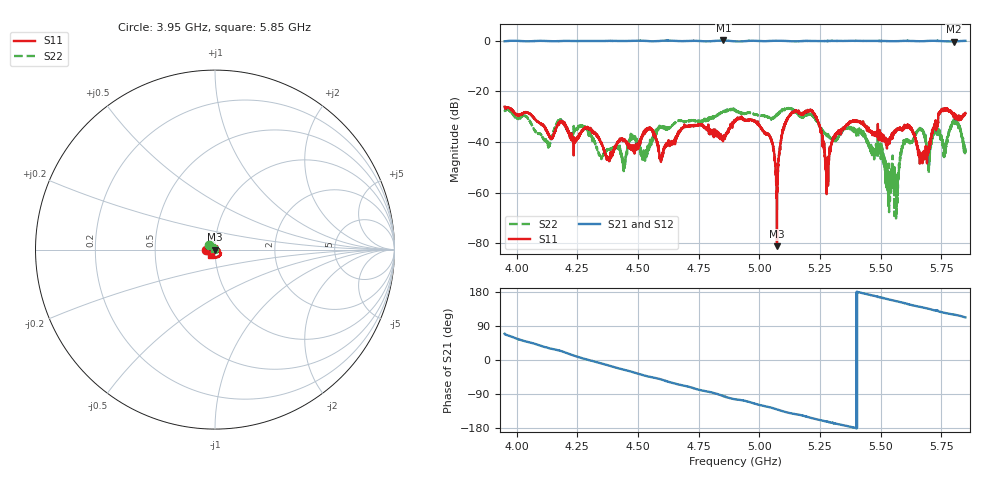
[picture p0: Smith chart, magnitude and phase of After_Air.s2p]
# GHZ S RI R 50.000000000000
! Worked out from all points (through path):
!   4501 points, 3.95 GHz to 5.85 GHz, reference 50 ohm
!   highest |S21| = 0.17 dB at 4.852 GHz (marker M1); lowest = -0.3 dB at 5.803 GHz (marker M2)
!   group delay of S21, straight-line fit = 455 ps
!   lowest |S11| = -81.2 dB at 5.073 GHz (marker M3), VSWR 1.00, Z = 50 - j0.00689 ohm
!   |S11| at or under -10 dB: start of sweep to end of sweep
!   |S22| runs from -70.2 to -26.4 dB; largest |S21 - S12| = 0.077
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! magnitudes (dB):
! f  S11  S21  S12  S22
! 3.95 GHz  -26.0  -0.2  -0.2  -27.9
! 4.131 GHz  -36.7  -0.1  -0.1  -41.2
! 4.267 GHz  -36.1  0.0  -0.1  -33.6
! 4.377 GHz  -46.2  0.0  -0.1  -42.8
! 4.441 GHz  -39.4  -0.1  -0.1  -49.5
! 4.584 GHz  -43.1  -0.1  -0.1  -35.0
! 4.852 GHz  -37.5  0.2  0.2  -27.9
! 4.9 GHz  -31.7  -0.2  -0.1  -27.5
! 5.039 GHz  -37.0  -0.1  -0.1  -30.3
! 5.073 GHz  -81.2  0.0  0.0  -29.3
! 5.116 GHz  -30.6  -0.1  -0.1  -26.6
! 5.217 GHz  -27.6  0.0  0.0  -29.5
! 5.279 GHz  -51.0  -0.1  0.0  -37.4
! 5.38 GHz  -32.2  0.0  0.0  -34.6
! 5.534 GHz  -39.8  -0.1  -0.1  -55.8
! 5.565 GHz  -35.0  -0.1  -0.1  -55.1
! 5.614 GHz  -33.7  0.0  -0.1  -39.8
! 5.676 GHz  -44.5  -0.1  -0.1  -35.8
! 5.699 GHz  -43.0  0.0  0.0  -47.8
! 5.748 GHz  -27.9  -0.1  -0.1  -37.7
! 5.803 GHz  -30.3  -0.3  -0.3  -30.9
! 5.85 GHz  -28.6  0.0  0.0  -43.1
